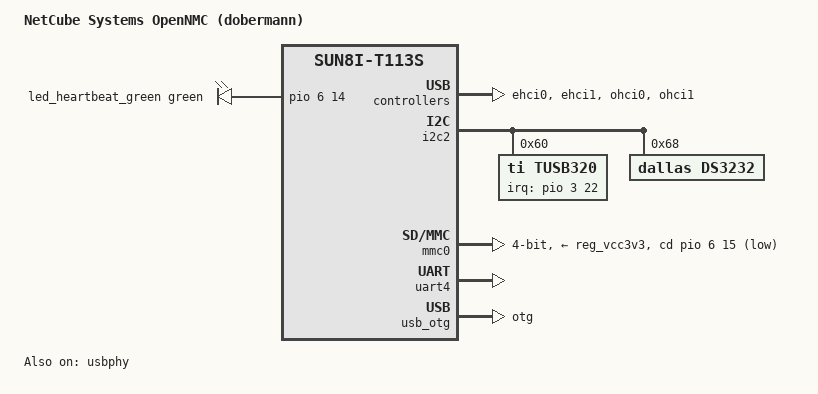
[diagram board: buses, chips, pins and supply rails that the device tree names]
// SPDX-License-Identifier: (GPL-2.0+ OR MIT)
/*
 * Copyright (C) 2026 Lukas Schmid <lukas.schmid@netcube.li>
 */

/dts-v1/;
#include "sun8i-t113s-netcube-nagami.dtsi"

#include <dt-bindings/leds/common.h>

/ {
	model = "NetCube Systems OpenNMC (dobermann)";
	compatible = "netcube,dobermann", "netcube,nagami",
		     "allwinner,sun8i-t113s";

	aliases {
		serial2 = &uart4; // UART on SmartSlot
		rtc0 = &ds3232;
		rtc1 = &rtc; // not battery backed
	};

	leds {
		compatible = "gpio-leds";

		led_heartbeat_green: led-heartbeat-green {
			gpios = <&pio 6 14 GPIO_ACTIVE_HIGH>; /* PG14 */
			linux,default-trigger = "heartbeat";
			color = <LED_COLOR_ID_GREEN>;
			function = LED_FUNCTION_HEARTBEAT;
		};
	};
};

&ehci0 {
	status = "okay";
};

&ehci1 {
	status = "okay";
};

&i2c2 {
	status = "okay";

	tusb320: typec@60 {
		compatible = "ti,tusb320";
		reg = <0x60>;
		interrupts-extended = <&pio 3 22 IRQ_TYPE_LEVEL_LOW>;  /* PD22 */
	};

	ds3232: rtc@68 {
		compatible = "dallas,ds3232";
		reg = <0x68>;
	};
};

/* microSD Card Slot on the board */
&mmc0 {
	vmmc-supply = <&reg_vcc3v3>;
	disable-wp;
	bus-width = <4>;
	cd-gpios = <&pio 6 15 GPIO_ACTIVE_LOW>; /* PG15 */
	status = "okay";
};

&ohci0 {
	status = "okay";
};

&ohci1 {
	status = "okay";
};

&pio {
	gpio-line-names = "", "", "", "", // PA
			  "", "", "", "",
			  "", "", "", "",
			  "", "", "", "",
			  "", "", "", "",
			  "", "", "", "",
			  "", "", "", "",
			  "", "", "", "",
			  "", "", "SMART_TX", "SMART_RX", // PB
			  "EXT_IO3", "EXT_IO2", "CONSOLE_TX", "CONSOLE_RX",
			  "", "", "", "",
			  "", "", "", "",
			  "", "", "", "",
			  "", "", "", "",
			  "", "", "", "",
			  "", "", "", "",
			  "", "", "eMMC_CLK", "eMMC_CMD", // PC
			  "eMMC_D2", "eMMC_D1", "eMMC_D0", "eMMC_D3",
			  "", "", "", "",
			  "", "", "", "",
			  "", "", "", "",
			  "", "", "", "",
			  "", "", "", "",
			  "", "", "", "",
			  "", "", "", "", // PD
			  "", "", "", "",
			  "", "USB_SEC_EN", "EXT_SPI_nCS", "EXT_SPI_SCK",
			  "EXT_SPI_MOSI", "EXT_SPI_MISO", "EXT_IO5", "EXT_IO4",
			  "SMART_SEL", "", "", "",
			  "I2C2_SCL", "I2C2_SDA", "TUSB320_nINT", "",
			  "", "", "", "",
			  "", "", "", "",
			  "ETH_CRSDV", "ETH_RXD0", "ETH_RXD1", "ETH_TXCK", // PE
			  "ETH_TXD0", "ETH_TXD1", "ETH_TXEN", "",
			  "ETH_MDC", "ETH_MDIO", "I2C3_nINT", "",
			  "", "", "", "",
			  "", "", "", "",
			  "", "", "", "",
			  "", "", "", "",
			  "", "", "", "",
			  "uSD_D1", "uSD_D0", "uSD_CLK", "uSD_CMD", // PF
			  "uSD_D3", "uSD_D2", "TUSB320_ID", "",
			  "", "", "", "",
			  "", "", "", "",
			  "", "", "", "",
			  "", "", "", "",
			  "", "", "", "",
			  "", "", "", "",
			  "ESP_CLK", "ESP_CMD", "ESP_D0", "ESP_D1", // PG
			  "ESP_D2", "ESP_D3", "ESP_TXD", "ESP_RXD",
			  "ESP_nBOOT", "ESP_nRST", "I2C3_SCL", "I2C3_SDA",
			  "EXT_IO1", "EXT_IO0", "LED_HEARTBEAT", "SD_DETECT",
			  "", "", "", "",
			  "", "", "", "",
			  "", "", "", "",
			  "", "", "", "";
};

/* SmartSlot serial */
&uart4 {
	pinctrl-0 = <&uart4_pb_pins>;
	pinctrl-names = "default";
	status = "okay";
};

&usb_otg {
	extcon = <&tusb320 0>;
	dr_mode = "otg";
	status = "okay";
};

&usbphy {
	usb0_id_det-gpios = <&pio 5 6 GPIO_ACTIVE_HIGH>; /* PF6 */
	status = "okay";
};
